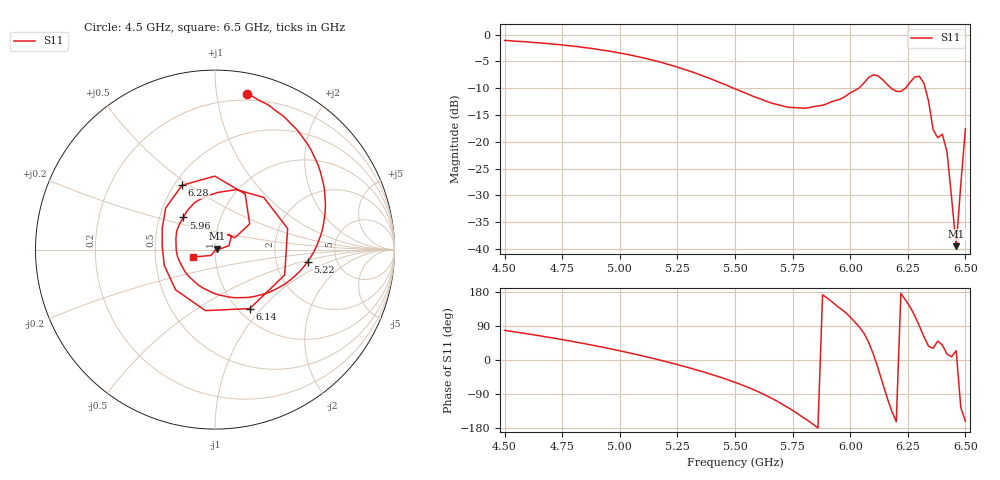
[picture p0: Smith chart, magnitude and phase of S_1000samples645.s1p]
! TOUCHSTONE file generated by CST MICROWAVE STUDIO
! Date and time: Fri Oct 28 21:37:58 2022
! Project name: L.cst
! Parameters = {Di=1.27; Epsilon_r=1.56; InnerDiameter=1.27; Length=2; Lf=10; Lg=60; OuterConductorThickness=0.2921; OuterDiameter=3.6; Wf=3; Wp=41.2; de=1.5; df=6.8; g=0.8; gx=2.3695; gy=2.83533; h=2.34; hf=1.524; px=12.6726; py=13.7663; w=9.7; wx=10.3031; wy=10.9309}
! Header version: 2018
! Port assignment regex: !\s*Touchstone port\s*([0-9]+)\s*=\s*(CST MWS port|CST DS port)\s*([0-9]+|Zmin|Zmax)\s*\(\"(.*)\"\)(\s*mode\s*([0-9]+))?.*
! Touchstone port assignment:
! Touchstone port 1 = CST MWS port 1 ("")
# GHz S DB R 50
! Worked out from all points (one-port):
!   101 points, 4.5 GHz to 6.5 GHz, reference 50 ohm
!   lowest |S11| = -39.5 dB at 6.46 GHz (marker M1), VSWR 1.02, Z = 51 + j0.452 ohm
!   |S11| at or under -10 dB: 5.494 GHz to 6.037 GHz (542.6 MHz wide, 9.41 % of centre); 6.178 GHz to 6.24 GHz (61.29 MHz wide, 0.987 % of centre); 6.326 GHz to end of sweep
!   S11 on the Smith chart (normalised r, x): 4.5 GHz: 0.16, +1.22; 5.22 GHz: 3.06, -0.56; 5.96 GHz: 0.66, +0.25; 6.14 GHz: 1.13, -0.87; 6.28 GHz: 0.55, +0.47; 6.5 GHz: 0.77, -0.07
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4.5  -1.09 78.3
4.76  -1.98 52.7
5  -3.43 24.3
5.22  -5.67 -7.3
5.26  -6.19 -13.9
5.5  -10.11 -59.0
5.76  -13.62 -136.9
5.96  -11.98 134.7
6  -10.88 113.4
6.04  -9.92 86.8
6.08  -8.01 46.9
6.1  -7.51 16.2
6.12  -7.68 -20.0
6.14  -8.37 -59.4
6.16  -9.26 -98.9
6.18  -10.06 -134.3
6.22  -10.60 175.8
6.26  -8.88 139.9
6.28  -7.90 117.1
6.3  -7.76 90.2
6.32  -9.06 61.6
6.34  -12.38 36.6
6.36  -17.74 30.8
6.38  -19.22 50.0
6.4  -18.59 39.3
6.42  -21.80 15.8
6.46  -39.46 24.6
6.5  -17.57 -161.4
